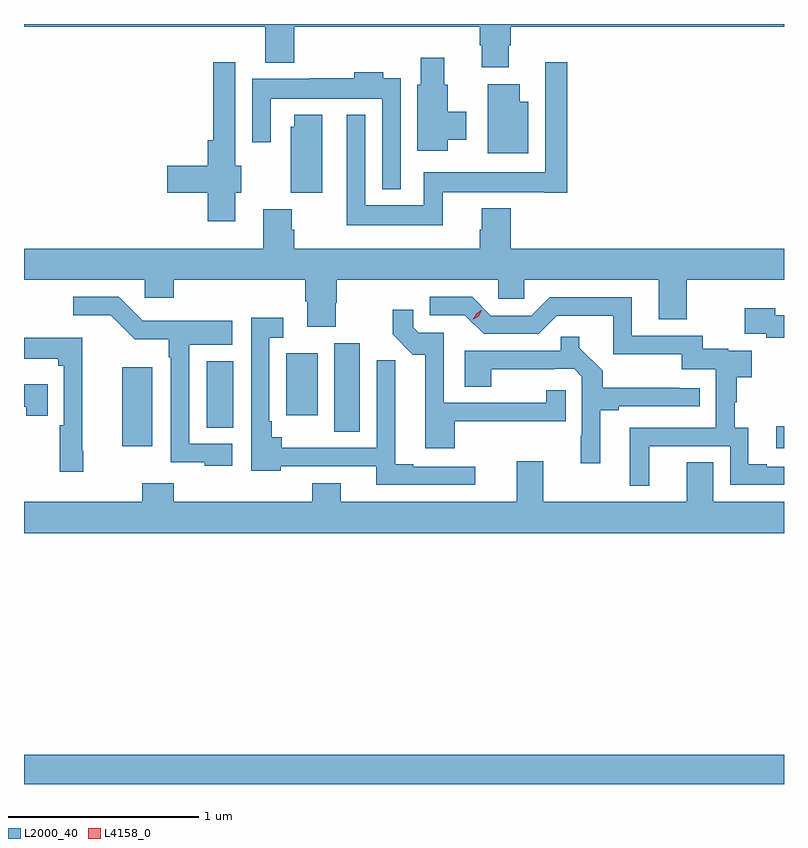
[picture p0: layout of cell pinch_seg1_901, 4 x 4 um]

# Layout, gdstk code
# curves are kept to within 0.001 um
import gdstk
lib = gdstk.Library(unit=1e-6, precision=1e-09)
def R(c, l, rs):  # rectangles x0, y0, x1, y1
    for r in rs: c.add(gdstk.rectangle(r[:2], r[2:], *l))
def P(c, l, *ps):  # polygons
    for p in ps: c.add(gdstk.Polygon(p, *l))
L2000_40 = (2000, 40)
L4158_0 = (4158, 0)

pinch_seg1_901 = lib.new_cell('pinch_seg1_901')
R(pinch_seg1_901, L2000_40, [(334.435,578.383,338.435,578.536), (338.394,580.149,338.435,580.265), (334.952,580.161,335.11,580.576), (336.068,580.237,336.202,580.704), (335.396,580.258,335.536,580.609), (335.816,580.323,335.98,580.651)])
P(pinch_seg1_901, L2000_40, [(336.985,582.27),(336.998,582.27),(336.998,582.368),(338.435,582.368),(338.435,582.383),(334.435,582.383),(334.435,582.368),(335.705,582.368),(335.705,582.179),(335.858,582.179),(335.858,582.368),(336.833,582.368),(336.833,582.27),(336.845,582.27),(336.845,582.156),(336.985,582.156)],
  [(336.664,581.774),(336.763,581.774),(336.763,581.922),(336.664,581.922),(336.664,582.063),(336.646,582.063),(336.646,582.205),(336.524,582.205),(336.524,582.063),(336.506,582.063),(336.506,581.715),(336.664,581.715)],
  [(336.638,581.498),(337.172,581.498),(337.172,581.496),(337.295,581.496),(337.295,582.181),(337.179,582.181),(337.179,581.602),(336.54,581.602),(336.54,581.428),(336.231,581.428),(336.231,581.905),(336.134,581.905),(336.134,581.324),(336.638,581.324)],
  [(335.548,581.494),(335.578,581.494),(335.578,581.636),(335.547,581.636),(335.547,582.181),(335.431,582.181),(335.431,581.77),(335.402,581.77),(335.402,581.636),(335.19,581.636),(335.19,581.494),(335.402,581.494),(335.402,581.346),(335.548,581.346)],
  [(336.417,582.097),(336.325,582.097),(336.325,582.13),(336.173,582.13),(336.173,582.097),(335.941,582.097),(335.941,582.094),(335.637,582.094),(335.637,581.76),(335.733,581.76),(335.733,581.99),(336.321,581.99),(336.321,581.513),(336.417,581.513)],
  [(337.09,581.974),(337.045,581.974),(337.045,582.067),(336.875,582.067),(336.875,581.702),(337.09,581.702)],
  [(336.004,581.905),(335.858,581.905),(335.858,581.841),(335.84,581.841),(335.84,581.494),(336.004,581.494)],
  [(336.075,580.917),(336.08,580.917),(336.08,581.036),(336.93,581.036),(336.93,580.938),(337.068,580.938),(337.068,581.036),(337.775,581.036),(337.775,580.828),(337.923,580.828),(337.923,581.036),(338.435,581.036),(338.435,581.2),(336.998,581.2),(336.998,581.413),(336.845,581.413),(336.845,581.301),(336.833,581.301),(336.833,581.2),(335.858,581.2),(335.858,581.3),(335.845,581.3),(335.845,581.409),(335.693,581.409),(335.693,581.2),(334.435,581.2),(334.435,581.036),(335.07,581.036),(335.07,580.943),(335.222,580.943),(335.222,581.036),(335.915,581.036),(335.915,580.924),(335.927,580.924),(335.927,580.789),(336.075,580.789)],
  [(337.726,580.161),(338.151,580.161),(338.151,579.957),(338.435,579.957),(338.435,580.053),(338.344,580.053),(338.344,580.066),(338.248,580.066),(338.248,580.257),(338.175,580.257),(338.175,580.391),(338.185,580.391),(338.185,580.523),(338.266,580.523),(338.266,580.663),(338.141,580.663),(338.141,580.675),(338.007,580.675),(338.007,580.743),(337.633,580.743),(337.633,580.944),(337.202,580.944),(337.106,580.848),(336.892,580.848),(336.793,580.947),(336.57,580.947),(336.57,580.851),(336.756,580.851),(336.855,580.752),(337.143,580.752),(337.239,580.848),(337.535,580.848),(337.535,580.646),(337.896,580.646),(337.896,580.566),(338.076,580.566),(338.076,580.257),(337.622,580.257),(337.622,579.953),(337.726,579.953)],
  [(335.53,580.173),(335.304,580.173),(335.304,580.694),(335.53,580.694),(335.53,580.822),(335.059,580.821),(334.933,580.947),(334.695,580.947),(334.695,580.85),(334.892,580.85),(335.018,580.724),(335.196,580.724),(335.196,580.628),(335.208,580.628),(335.208,580.077),(335.385,580.077),(335.385,580.058),(335.53,580.058)],
  [(338.435,580.85),(338.39,580.85),(338.39,580.888),(338.229,580.888),(338.229,580.752),(338.341,580.752),(338.341,580.732),(338.435,580.732)],
  [(336.701,580.292),(337.286,580.292),(337.286,580.456),(337.183,580.456),(337.183,580.389),(336.645,580.389),(336.645,580.758),(336.513,580.758),(336.483,580.788),(336.483,580.879),(336.375,580.879),(336.375,580.749),(336.482,580.643),(336.548,580.643),(336.548,580.149),(336.701,580.149)],
  [(336.811,580.053),(336.484,580.053),(336.484,580.066),(336.388,580.066),(336.388,580.476),(336.39,580.476),(336.39,580.614),(336.291,580.614),(336.291,580.152),(335.791,580.152),(335.791,580.208),(335.74,580.208),(335.74,580.291),(335.727,580.291),(335.727,580.731),(335.8,580.731),(335.8,580.837),(335.631,580.837),(335.631,580.031),(335.787,580.031),(335.787,580.056),(336.29,580.056),(336.29,579.957),(336.811,579.957)],
  [(337.468,580.351),(337.564,580.351),(337.564,580.371),(337.991,580.371),(337.991,580.467),(337.883,580.467),(337.883,580.469),(337.48,580.469),(337.48,580.557),(337.358,580.679),(337.358,580.737),(337.26,580.737),(337.26,580.662),(336.755,580.662),(336.755,580.474),(336.895,580.474),(336.895,580.565),(337.229,580.565),(337.229,580.568),(337.33,580.568),(337.371,580.527),(337.371,580.215),(337.364,580.215),(337.364,580.071),(337.468,580.071)],
  [(334.748,580.138),(334.742,580.138),(334.742,580.732),(334.435,580.732),(334.435,580.622),(334.616,580.622),(334.616,580.584),(334.644,580.584),(334.644,580.27),(334.624,580.27),(334.624,580.026),(334.748,580.026)],
  [(334.559,580.486),(334.435,580.486),(334.435,580.369),(334.448,580.369),(334.448,580.32),(334.559,580.32)],
  [(338.435,579.868),(338.062,579.868),(338.062,580.076),(337.922,580.076),(337.922,579.868),(337.168,579.868),(337.168,580.081),(337.028,580.081),(337.028,579.868),(336.103,579.868),(336.103,579.967),(335.951,579.967),(335.951,579.868),(335.222,579.868),(335.222,579.967),(335.057,579.967),(335.057,579.868),(334.435,579.868),(334.435,579.704),(338.435,579.704)])
P(pinch_seg1_901, L4158_0, [(336.798,580.826),(336.798,580.826),(336.814,580.859),(336.845,580.879),(336.845,580.879),(336.845,580.879),(336.829,580.846),(336.798,580.826)])

lib.write_gds('pinch_seg1_901.gds')
